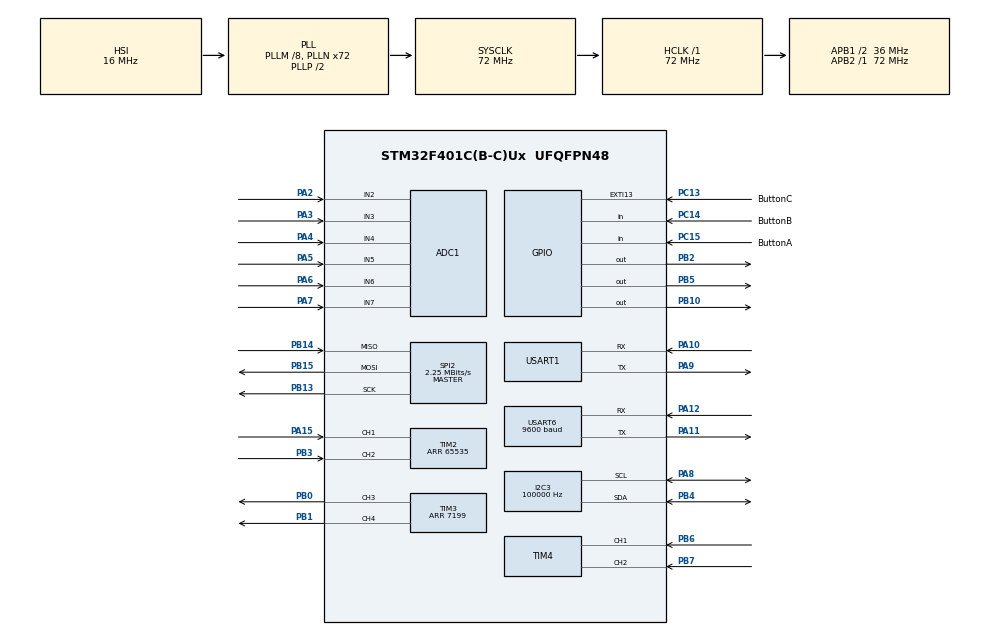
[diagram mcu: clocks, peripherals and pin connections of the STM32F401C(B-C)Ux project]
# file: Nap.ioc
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ADC1.Channel-0\#ChannelRegularConversion=ADC_CHANNEL_2
ADC1.Channel-1\#ChannelRegularConversion=ADC_CHANNEL_3
ADC1.Channel-2\#ChannelRegularConversion=ADC_CHANNEL_4
ADC1.Channel-3\#ChannelRegularConversion=ADC_CHANNEL_5
ADC1.Channel-4\#ChannelRegularConversion=ADC_CHANNEL_6
ADC1.Channel-5\#ChannelRegularConversion=ADC_CHANNEL_7
ADC1.ContinuousConvMode=ENABLE
ADC1.DMAContinuousRequests=ENABLE
ADC1.NbrOfConversion=6
ADC1.NbrOfConversionFlag=1
ADC1.Rank-0\#ChannelRegularConversion=1
ADC1.Rank-1\#ChannelRegularConversion=2
ADC1.Rank-2\#ChannelRegularConversion=3
ADC1.Rank-3\#ChannelRegularConversion=4
ADC1.Rank-4\#ChannelRegularConversion=5
ADC1.Rank-5\#ChannelRegularConversion=6
ADC1.SamplingTime-0\#ChannelRegularConversion=ADC_SAMPLETIME_56CYCLES
ADC1.SamplingTime-1\#ChannelRegularConversion=ADC_SAMPLETIME_56CYCLES
ADC1.SamplingTime-2\#ChannelRegularConversion=ADC_SAMPLETIME_56CYCLES
ADC1.SamplingTime-3\#ChannelRegularConversion=ADC_SAMPLETIME_56CYCLES
ADC1.SamplingTime-4\#ChannelRegularConversion=ADC_SAMPLETIME_56CYCLES
ADC1.SamplingTime-5\#ChannelRegularConversion=ADC_SAMPLETIME_56CYCLES
ADC1.master=1
Dma.ADC1.0.Direction=DMA_PERIPH_TO_MEMORY
Dma.ADC1.0.FIFOMode=DMA_FIFOMODE_DISABLE
Dma.ADC1.0.Instance=DMA2_Stream0
Dma.ADC1.0.MemDataAlignment=DMA_MDATAALIGN_HALFWORD
Dma.ADC1.0.MemInc=DMA_MINC_ENABLE
Dma.ADC1.0.Mode=DMA_CIRCULAR
Dma.ADC1.0.PeriphDataAlignment=DMA_PDATAALIGN_HALFWORD
Dma.ADC1.0.PeriphInc=DMA_PINC_DISABLE
Dma.ADC1.0.Priority=DMA_PRIORITY_LOW
Dma.Request0=ADC1
I2C3.ClockSpeed=100000
Mcu.Family=STM32F4
Mcu.Name=STM32F401C(B-C)Ux
Mcu.Package=UFQFPN48
NVIC.ADC_IRQn=true\:0\:0\:false\:false\:true\:true\:true
NVIC.DMA2_Stream0_IRQn=true\:0\:0\:false\:false\:true\:false\:true
NVIC.EXTI15_10_IRQn=true\:0\:0\:false\:false\:true\:true\:true
NVIC.PriorityGroup=NVIC_PRIORITYGROUP_4
NVIC.TIM2_IRQn=true\:0\:0\:false\:false\:true\:true\:true
NVIC.TIM4_IRQn=true\:0\:0\:false\:false\:true\:true\:true
NVIC.TIM5_IRQn=true\:0\:0\:false\:false\:true\:true\:true
NVIC.USART6_IRQn=true\:0\:0\:false\:false\:true\:true\:true
PA10.Mode=Asynchronous
PA10.Signal=USART1_RX
PA11.Mode=Asynchronous
PA11.Signal=USART6_TX
PA12.GPIO_ModeDefaultPP=GPIO_MODE_AF_PP
PA12.GPIO_PuPd=GPIO_NOPULL
PA12.GPIO_Speed=GPIO_SPEED_FREQ_VERY_HIGH
PA12.Mode=Asynchronous
PA12.Signal=USART6_RX
PA13.Mode=Serial_Wire
PA13.Signal=SYS_JTMS-SWDIO
PA14.Mode=Serial_Wire
PA14.Signal=SYS_JTCK-SWCLK
PA15.Signal=S_TIM2_CH1_ETR
PA2.Signal=ADCx_IN2
PA3.Signal=ADCx_IN3
PA4.Signal=ADCx_IN4
PA5.Signal=ADCx_IN5
PA6.Signal=ADCx_IN6
PA7.Signal=ADCx_IN7
PA8.GPIO_Pu=GPIO_PULLUP
PA8.Mode=I2C
PA8.Signal=I2C3_SCL
PA9.Mode=Asynchronous
PA9.Signal=USART1_TX
PB0.Signal=S_TIM3_CH3
PB1.Signal=S_TIM3_CH4
PB10.Signal=GPIO_Output
PB13.Mode=Full_Duplex_Master
PB13.Signal=SPI2_SCK
PB14.Mode=Full_Duplex_Master
PB14.Signal=SPI2_MISO
PB15.Mode=Full_Duplex_Master
PB15.Signal=SPI2_MOSI
PB2.Signal=GPIO_Output
PB3.Signal=S_TIM2_CH2
PB4.GPIO_Pu=GPIO_PULLUP
PB4.Mode=I2C
PB4.Signal=I2C3_SDA
PB5.Signal=GPIO_Output
PB6.Signal=S_TIM4_CH1
PB7.Signal=S_TIM4_CH2
PC13-ANTI_TAMP.GPIO_Label=ButtonC
PC13-ANTI_TAMP.GPIO_ModeDefaultEXTI=GPIO_MODE_IT_FALLING
PC13-ANTI_TAMP.Signal=GPXTI13
PC14-OSC32_IN.GPIO_Label=ButtonB
PC14-OSC32_IN.GPIO_Mode=GPIO_MODE_INPUT
PC14-OSC32_IN.Signal=GPIO_Input
PC15-OSC32_OUT.GPIO_Label=ButtonA
PC15-OSC32_OUT.GPIO_Mode=GPIO_MODE_INPUT
PC15-OSC32_OUT.GPIO_PuPd=GPIO_NOPULL
PC15-OSC32_OUT.Signal=GPIO_Input
PH0\ -\ OSC_IN.Mode=HSE-External-Oscillator
PH0\ -\ OSC_IN.Signal=RCC_OSC_IN
PH1\ -\ OSC_OUT.Mode=HSE-External-Oscillator
PH1\ -\ OSC_OUT.Signal=RCC_OSC_OUT
ProjectManager.HeapSize=0x200
ProjectManager.StackSize=0x400
ProjectManager.TargetToolchain=STM32CubeIDE
RCC.48MHZClocksFreq_Value=36000000
RCC.AHBFreq_Value=72000000
RCC.APB1CLKDivider=RCC_HCLK_DIV2
RCC.APB1Freq_Value=36000000
RCC.APB1TimFreq_Value=72000000
RCC.APB2Freq_Value=72000000
RCC.APB2TimFreq_Value=72000000
RCC.CortexFreq_Value=72000000
RCC.HCLKFreq_Value=72000000
RCC.HSE_VALUE=8000000
RCC.HSI_VALUE=16000000
RCC.LSE_VALUE=32768
RCC.PLLM=8
RCC.PLLN=72
RCC.SYSCLKFreq_VALUE=72000000
RCC.SYSCLKSource=RCC_SYSCLKSOURCE_PLLCLK
RCC.VCOOutputFreq_Value=144000000
SH.ADCx_IN2.0=ADC1_IN2,IN2
SH.ADCx_IN3.0=ADC1_IN3,IN3
SH.ADCx_IN4.0=ADC1_IN4,IN4
SH.ADCx_IN5.0=ADC1_IN5,IN5
SH.ADCx_IN6.0=ADC1_IN6,IN6
SH.ADCx_IN7.0=ADC1_IN7,IN7
SH.S_TIM2_CH1_ETR.0=TIM2_CH1,Encoder_Interface
SH.S_TIM2_CH2.0=TIM2_CH2,Encoder_Interface
SH.S_TIM3_CH3.0=TIM3_CH3,PWM Generation3 CH3
SH.S_TIM3_CH4.0=TIM3_CH4,PWM Generation4 CH4
SH.S_TIM4_CH1.0=TIM4_CH1,Encoder_Interface
SH.S_TIM4_CH2.0=TIM4_CH2,Encoder_Interface
SPI2.BaudRatePrescaler=SPI_BAUDRATEPRESCALER_16
SPI2.CRCCalculation=SPI_CRCCALCULATION_DISABLE
SPI2.CalculateBaudRate=2.25 MBits/s
SPI2.Direction=SPI_DIRECTION_2LINES
SPI2.Mode=SPI_MODE_MASTER
SPI2.VirtualType=VM_MASTER
TIM2.EncoderMode=TIM_ENCODERMODE_TI12
TIM2.IC1Polarity=TIM_ICPOLARITY_FALLING
TIM2.IC2Polarity=TIM_ICPOLARITY_FALLING
TIM2.Period=65535
TIM3.Channel-PWM\ Generation3\ CH3=TIM_CHANNEL_3
TIM3.Channel-PWM\ Generation4\ CH4=TIM_CHANNEL_4
TIM3.Period=7199
TIM4.EncoderMode=TIM_ENCODERMODE_TI12
TIM4.IC1Polarity=TIM_ICPOLARITY_FALLING
TIM4.IC2Polarity=TIM_ICPOLARITY_FALLING
TIM5.Period=59999
TIM5.Prescaler=60
TIM9.Period=9999
TIM9.Prescaler=71
USART1.VirtualMode=VM_ASYNC
USART6.BaudRate=9600
USART6.VirtualMode=VM_ASYNC
USART6.WordLength=WORDLENGTH_8B
VP_TIM5_VS_ClockSourceINT.Mode=Internal
VP_TIM9_VS_ClockSourceINT.Mode=Internal
board=custom

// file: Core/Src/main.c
/* USER CODE BEGIN Header */
/**
 ******************************************************************************
 * @file           : main.c
 * @brief          : Main program body
 ******************************************************************************
 * @attention
 *
 * <h2><center>&copy; Copyright (c) 2021 STMicroelectronics.
 * All rights reserved.</center></h2>
 *
 * This software component is licensed by ST under BSD 3-Clause license,
 * the "License"; You may not use this file except in compliance with the
 * License. You may obtain a copy of the License at:
 *                        opensource.org/licenses/BSD-3-Clause
 *
 ******************************************************************************
 */
/* USER CODE END Header */
#include "main.h"

/* USER CODE BEGIN PD */
#define Number_of_Menu_firstline 		1
#define Maximum_Menu_line 				8
#define Maximum_PID_line 				4
#define Maximum_Engine_line 			3
#define Maximum_Path_Solver_line		4
/* Menu Types definition -----------------------------------------------------*/
#define Running_menu 					0
#define Main_menu 						1
#define Color_Processing 				2
#define PID_Menu 						3
#define Engine_menu 					4
#define LineDetect_Show 				5
#define Wifi_Connect 					6
#define Saving_process 					7
#define Path_solver						8
#define Path_show_menu					9

/* Increase or Decrease amount for PID ---------------------------------------*/
#define Kp_amount 					 0.01f
#define Ki_amount 					 0.01f
#define Kd_amount 					 0.01f

/* Receive Buffer Size -------------------------------------------------------*/
#define RECEIVE_BUFF_SIZE				22U
#define ID_PID_MESS						1U
#define ID_STATUS_MESS					2U
#define ID_FIRST_LAST_MESS				3U
#define DATA_ERROR_REQ					4U
#define DATA_LEFT_REQ					5U
#define DATA_RIGHT_REQ					6U
#define DATA_PID_REQ					7U
#define DATA_BOOT_REQ					8U
#define DATA_PATH_REQ					9U
#define DATA_POINT_REQ					10U
#define DATA_RFID_REQ					11U

/* Car State -----------------------------------------------------------------*/
#define CAR_IS_RUNNING					1U
#define CAR_IS_PAUSE					0U

/* Transfer data flag --------------------------------------------------------*/
#define DATA_TRANS_DIS 					0U
#define DATA_TRANS_EN 					1U

/* Transfer PID DATA ---------------------------------------------------------*/
#define Send_Buffer_Size 				22
#define Kp_Buffer_Size 					7
#define Ki_Buffer_Size 					7
#define Kd_Buffer_Size 					7
/* Sensor position -----------------------------------------------------------*/

	/*		0			1			2			3			4			5		*/

/* Max Speed Constrains ------------------------------------------------------*/
#define MAXSPEED_RIGHT					3300
#define MAXSPEED_LEFT					3490

/* Default PID ---------------------------------------------------------------*/
#define DEFAULT_KP						36.42f
#define DEFAULT_KI						0.0f
#define DEFAULT_KD						2.3f

/* Line Color ----------------------------------------------------------------*/
#define LINE_HALF_BLACK					1U
#define LINE_FULL_BLACK					2U
#define LINE_MIDDLE						3U

/* Instruction define --------------------------------------------------------*/
#define TURN_SKIP_POINT					7U
#define TURN_SKIP 						0U
#define TURN_180DEG_STRAIGHT			1U
#define TURN_180DEG_RIGHT				2U
#define TURN_RIGHT						3U
#define TURN_LEFT						4U
#define TURN_180DEG_LEFT				5U
/* USER CODE END PD */

/* USER CODE BEGIN PM */
#define sbi(Reg, Bit) (Reg |= (1<<Bit))					//set bit macro
#define cbi(Reg, Bit) (Reg &= ~(1<<Bit))				//clear bit macro
/* USER CODE END PM */

ADC_HandleTypeDef hadc1;
DMA_HandleTypeDef hdma_adc1;

I2C_HandleTypeDef hi2c3;

SPI_HandleTypeDef hspi2;

TIM_HandleTypeDef htim2;
TIM_HandleTypeDef htim3;
TIM_HandleTypeDef htim4;
TIM_HandleTypeDef htim5;
TIM_HandleTypeDef htim9;

UART_HandleTypeDef huart1;
UART_HandleTypeDef huart6;

/* USER CODE BEGIN PV */

uint8_t LineDetect = 0;
volatile uint8_t stateBTNC = 1;
uint8_t cancel_menu = 1;
uint8_t cancel_running = 1;
uint8_t Kp_modify_flag = 0, Ki_modify_flag = 0, Kd_modify_flag = 0;
uint8_t Left_modify_flag = 0, Right_modify_flag = 0;
uint8_t First_point_modify_flag = 0, Last_point_modify_flag = 0;
uint8_t Status = CAR_IS_RUNNING;
uint8_t Trans_flag = DATA_TRANS_DIS;
uint8_t LCD_INIT_FLAG = 1;
uint8_t Previous_Line = LINE_MIDDLE;
uint8_t Flag_u8 = 0;
int8_t First_point = 0,Last_point = 0,Previous_point = 7;
int8_t Begin_solving = 0;
uint8_t count;
uint8_t STATION_ID = 0;
uint8_t cancel_reading_card = 1;
uint8_t RFID_ID_ready = 0;
int16_t Left = 3390, Right = 3200;
int16_t positionLeft = 0, positionRight = 0;
uint16_t Sensor_Threshold[] = { 3900, 3900, 3900, 4000, 4000, 4000 };
uint16_t Sensor_ADC_Value[6];
uint32_t counterLeft = 0,counterRight = 0;

volatile short countLeft = 0, countRight = 0;
volatile short countLeft_prv = 0, countRight_prv = 0;
volatile short rateLeft = 0, rateRight = 0;
volatile short rateLeft_prv = 0, rateRight_prv = 0;

const long interval = 70;
uint8_t ID;
int Motor_Speed_L,Motor_Speed_R;
int Speed_Left = 0, Speed_Right = 0;
int Check_line = 0;
int Error_Val;
int old_countLeft,old_countRight;
float Kp = DEFAULT_KP, Ki = DEFAULT_KI, Kd = DEFAULT_KD;
char string_2[1];
char PID_Rx[12];
char kp_val[10], ki_val[10], kd_val[10];
char Rx_Buffer[RECEIVE_BUFF_SIZE],Rx_Buffer_copied[RECEIVE_BUFF_SIZE];
char RFID_Str[20] = "2398801a21";
unsigned long previousMillis = 0;
unsigned long time;
unsigned char CardID[5];
PIDController Car = {0,0,0,0,-400,400};
/* USER CODE END PV */

void SystemClock_Config(void);
static void MX_GPIO_Init(void);
static void MX_DMA_Init(void);
static void MX_USART6_UART_Init(void);
static void MX_TIM2_Init(void);
static void MX_TIM3_Init(void);
static void MX_ADC1_Init(void);
static void MX_TIM4_Init(void);
static void MX_I2C3_Init(void);
static void MX_TIM5_Init(void);
static void MX_SPI2_Init(void);
static void MX_USART1_UART_Init(void);
static void MX_TIM9_Init(void);
/* USER CODE BEGIN PFP */
static void SelectItem(void);
static void Sensor_Convert_A2D(void);
static void Sensor_Print_LineDetect();
static void MultifunctionButton(void);
static void ScrollUp(void);
static int Error_Return (uint8_t Sensor_Array);
static int Constraint (int Present_Value,int Min,int Max);
static void Go_Straight();
static void Left_Turn();
static void Right_Turn();
static void Turn_180_Deg();

// RC522
uint8_t MFRC522_Check(uint8_t* id);
uint8_t MFRC522_Compare(uint8_t* CardID, uint8_t* CompareID);
void MFRC522_WriteRegister(uint8_t addr, uint8_t val);
uint8_t MFRC522_ReadRegister(uint8_t addr);
void MFRC522_SetBitMask(uint8_t reg, uint8_t mask);
void MFRC522_ClearBitMask(uint8_t reg, uint8_t mask);
uint8_t MFRC522_Request(uint8_t reqMode, uint8_t* TagType);
uint8_t MFRC522_ToCard(uint8_t command, uint8_t* sendData, uint8_t sendLen, uint8_t* backData, uint16_t* backLen);
uint8_t MFRC522_Anticoll(uint8_t* serNum);
void MFRC522_CalulateCRC(uint8_t* pIndata, uint8_t len, uint8_t* pOutData);
uint8_t MFRC522_SelectTag(uint8_t* serNum);
uint8_t MFRC522_Auth(uint8_t authMode, uint8_t BlockAddr, uint8_t* Sectorkey, uint8_t* serNum);
uint8_t MFRC522_Read(uint8_t blockAddr, uint8_t* recvData);
uint8_t MFRC522_Write(uint8_t blockAddr, uint8_t* writeData);
void MFRC522_Init(void);
void MFRC522_Reset(void);
void MFRC522_AntennaOn(void);
void MFRC522_AntennaOff(void);
void MFRC522_Halt(void);
/* USER CODE END PFP */

/* USER CODE BEGIN 0 */
PUTCHAR_PROTOTYPE {
	/* Place your implementation of fputc here */
	/* e.g. write a character to the USART2 and Loop until the end of transmission */
	HAL_UART_Transmit(&huart1, (uint8_t*) &ch, 1, 0xFFFF);
	return ch;
}

void HAL_UART_RxCpltCallback(UART_HandleTypeDef *huart)
{
	strcpy(Rx_Buffer_copied,Rx_Buffer);
	char *ID_number  = strtok(Rx_Buffer_copied," ");
	ID = strtod(ID_number,NULL);
	if(ID == ID_PID_MESS)
	{
		char *Data1 = strtok(NULL," ");
		char *Data2 = strtok(NULL," ");
		char *Data3 = strtok(NULL,"");
		Kp = strtof(Data1,NULL);
		Ki = strtof(Data2,NULL);
		Kd = strtof(Data3,NULL);
	}
	else if(ID == ID_STATUS_MESS)
	{
		char *Data1 = strtok(NULL," ");
		Status = (uint8_t)atoi(Data1);
	}
	else if(ID == ID_FIRST_LAST_MESS)
	{
		char *Data1 = strtok(NULL," ");
		char *Data2 = strtok(NULL," ");
		First_point = atoi(Data1);
		Last_point = atoi(Data2);
		Begin_solving = 1;
	}
	else if(ID == DATA_ERROR_REQ && Trans_flag == DATA_TRANS_EN)
	{
		char Error_Str[4];
		sprintf(Error_Str,"%d",Error_Val);
		HAL_UART_Transmit(&huart6, Error_Str, sizeof(Error_Str), 5000);
	}
	else if(ID == DATA_LEFT_REQ && Trans_flag == DATA_TRANS_EN)
	{
		char Speed_Left_Str[5];
		sprintf(Speed_Left_Str,"%d",rateLeft);
		HAL_UART_Transmit(&huart6, Speed_Left_Str, sizeof(Speed_Left_Str),5000);
	}
	else if(ID == DATA_RIGHT_REQ && Trans_flag == DATA_TRANS_EN)
	{
		char Speed_Right_Str[5];
		sprintf(Speed_Right_Str,"%d",rateRight);
		HAL_UART_Transmit(&huart6, Speed_Right_Str, sizeof(Speed_Right_Str), 5000);
	}
	else if(ID == DATA_PID_REQ)
	{
	  char Kp_string[Kp_Buffer_Size+1],Ki_string[Ki_Buffer_Size+1],Kd_string[Kd_Buffer_Size+1],Final_string[Send_Buffer_Size];
	  memset(Final_string,0,sizeof(Final_string));
	  sprintf(Kp_string,"%06.2f ",Kp);
	  sprintf(Ki_string,"%06.2f ",Ki);
	  sprintf(Kd_string,"%06.2f\"",Kd);
	  strcat(Final_string,Kp_string);
	  strcat(Final_string,Ki_string);
	  strcat(Final_string,Kd_string);
	  HAL_UART_Transmit(&huart6, Final_string, sizeof(Final_string), 10000);
	}
	else if(ID == DATA_BOOT_REQ)
	{
		char Boot[1] = "1";
		HAL_UART_Transmit(&huart6, Boot, sizeof(Boot), 1000);
	}
	else if(ID == DATA_PATH_REQ)
	{
		char PATH_DIR[15];
		memset(PATH_DIR,0,sizeof(PATH_DIR));
		GetString_Transfer(First_point, Last_point, PATH_DIR);
		HAL_UART_Transmit(&huart6, PATH_DIR, sizeof(PATH_DIR), 5000);
	}
	else if(ID == DATA_POINT_REQ)
	{
		char STATION_ID_str[4];
		sprintf(STATION_ID_str,"%d",STATION_ID);
		HAL_UART_Transmit(&huart6, STATION_ID_str, sizeof(STATION_ID_str), 2000);
	}
	else if(ID == DATA_RFID_REQ)
	{
		if(RFID_Str == "d1b0af21ef")
		{
			strcpy(RFID_Str,"83ee851af2");
		}
		HAL_UART_Transmit(&huart6, RFID_Str,sizeof(RFID_Str),2000);
	}
	memset(Rx_Buffer_copied,0,sizeof(Rx_Buffer_copied));
	memset(Rx_Buffer,0,sizeof(Rx_Buffer));
	HAL_UART_Receive_IT(&huart6, Rx_Buffer, RECEIVE_BUFF_SIZE);

}

void Encoder_Read()
{
	countLeft = __HAL_TIM_GET_COUNTER(&htim2);
	countRight = __HAL_TIM_GET_COUNTER(&htim4);
}
/* USER CODE END 0 */

int main(void)
{

  /* MCU Configuration--------------------------------------------------------*/

  /* Reset of all peripherals, Initializes the Flash interface and the Systick. */
  HAL_Init();

  /* Configure the system clock */
  SystemClock_Config();

  /* Initialize all configured peripherals */
  MX_GPIO_Init();
  MX_DMA_Init();
  MX_USART6_UART_Init();
  MX_TIM2_Init();
  MX_TIM3_Init();
  MX_ADC1_Init();
  MX_TIM4_Init();
  MX_I2C3_Init();
  MX_TIM5_Init();
  MX_SPI2_Init();
  MX_USART1_UART_Init();
  MX_TIM9_Init();
  /* USER CODE BEGIN 2 */
  lcd_init();
  MotorL_EnablePWM();
  MotorR_EnablePWM();
  HAL_ADC_Start_DMA(&hadc1, (uint32_t*) &Sensor_ADC_Value, 6);
  HAL_UART_Receive_IT(&huart6, Rx_Buffer, RECEIVE_BUFF_SIZE);
  /*Enable for encoder reading*/
  HAL_TIM_Encoder_Start_IT(&htim4, TIM_CHANNEL_ALL);
  HAL_TIM_Encoder_Start_IT(&htim2, TIM_CHANNEL_ALL);
  PIDController_Car_Init(&Car);
  MFRC522_Init();
  /* USER CODE END 2 */

  /* Infinite loop */
  /* USER CODE BEGIN WHILE */
	while (1) {
		if(LCD_INIT_FLAG == 1)
		{
			for(int i = 0; i < 3; i++)
			{
				lcd_init();
				HAL_Delay(500);
				lcd_send_cmd(0);
			}
			LCD_INIT_FLAG = 0;
		}
		lcd_send_cmd(1);
		while (menu_display)
		{
			Car.Kp = Kp;
			Car.Kd = Kd;
			Menu_system_control(Menu_type, line);
			ScrollUp();
			SelectItem();
		}
//		MotorL_SetPWM(3000);
//		MotorR_SetPWM(3000);
//		printf("%d,%d\n",Speed_Left,Speed_Right);
//		HAL_Delay(100);
	}
    /* USER CODE END WHILE */

}

void SystemClock_Config(void)
{
  RCC_OscInitTypeDef RCC_OscInitStruct = {0};
  RCC_ClkInitTypeDef RCC_ClkInitStruct = {0};

  /** Configure the main internal regulator output voltage
  */
  __HAL_RCC_PWR_CLK_ENABLE();
  __HAL_PWR_VOLTAGESCALING_CONFIG(PWR_REGULATOR_VOLTAGE_SCALE2);
  /** Initializes the RCC Oscillators according to the specified parameters
  * in the RCC_OscInitTypeDef structure.
  */
  RCC_OscInitStruct.OscillatorType = RCC_OSCILLATORTYPE_HSI;
  RCC_OscInitStruct.HSIState = RCC_HSI_ON;
  RCC_OscInitStruct.HSICalibrationValue = RCC_HSICALIBRATION_DEFAULT;
  RCC_OscInitStruct.PLL.PLLState = RCC_PLL_ON;
  RCC_OscInitStruct.PLL.PLLSource = RCC_PLLSOURCE_HSI;
  RCC_OscInitStruct.PLL.PLLM = 8;
  RCC_OscInitStruct.PLL.PLLN = 72;
  RCC_OscInitStruct.PLL.PLLP = RCC_PLLP_DIV2;
  RCC_OscInitStruct.PLL.PLLQ = 4;
  if (HAL_RCC_OscConfig(&RCC_OscInitStruct) != HAL_OK)
  {
    Error_Handler();
  }
  /** Initializes the CPU, AHB and APB buses clocks
  */
  RCC_ClkInitStruct.ClockType = RCC_CLOCKTYPE_HCLK|RCC_CLOCKTYPE_SYSCLK
                              |RCC_CLOCKTYPE_PCLK1|RCC_CLOCKTYPE_PCLK2;
  RCC_ClkInitStruct.SYSCLKSource = RCC_SYSCLKSOURCE_PLLCLK;
  RCC_ClkInitStruct.AHBCLKDivider = RCC_SYSCLK_DIV1;
  RCC_ClkInitStruct.APB1CLKDivider = RCC_HCLK_DIV2;
  RCC_ClkInitStruct.APB2CLKDivider = RCC_HCLK_DIV1;

  if (HAL_RCC_ClockConfig(&RCC_ClkInitStruct, FLASH_LATENCY_2) != HAL_OK)
  {
    Error_Handler();
  }
}

static void MX_ADC1_Init(void)
{

  ADC_ChannelConfTypeDef sConfig = {0};

  /** Configure the global features of the ADC (Clock, Resolution, Data Alignment and number of conversion)
  */
  hadc1.Instance = ADC1;
  hadc1.Init.ClockPrescaler = ADC_CLOCK_SYNC_PCLK_DIV2;
  hadc1.Init.Resolution = ADC_RESOLUTION_12B;
  hadc1.Init.ScanConvMode = ENABLE;
  hadc1.Init.ContinuousConvMode = ENABLE;
  hadc1.Init.DiscontinuousConvMode = DISABLE;
  hadc1.Init.ExternalTrigConvEdge = ADC_EXTERNALTRIGCONVEDGE_NONE;
  hadc1.Init.ExternalTrigConv = ADC_SOFTWARE_START;
  hadc1.Init.DataAlign = ADC_DATAALIGN_RIGHT;
  hadc1.Init.NbrOfConversion = 6;
  hadc1.Init.DMAContinuousRequests = ENABLE;
  hadc1.Init.EOCSelection = ADC_EOC_SINGLE_CONV;
  if (HAL_ADC_Init(&hadc1) != HAL_OK)
  {
    Error_Handler();
  }
  /** Configure for the selected ADC regular channel its corresponding rank in the sequencer and its sample time.
  */
  sConfig.Channel = ADC_CHANNEL_2;
  sConfig.Rank = 1;
  sConfig.SamplingTime = ADC_SAMPLETIME_56CYCLES;
  if (HAL_ADC_ConfigChannel(&hadc1, &sConfig) != HAL_OK)
  {
    Error_Handler();
  }
  /** Configure for the selected ADC regular channel its corresponding rank in the sequencer and its sample time.
  */
  sConfig.Channel = ADC_CHANNEL_3;
  sConfig.Rank = 2;
  if (HAL_ADC_ConfigChannel(&hadc1, &sConfig) != HAL_OK)
  {
    Error_Handler();
  }
  /** Configure for the selected ADC regular channel its corresponding rank in the sequencer and its sample time.
  */
  sConfig.Channel = ADC_CHANNEL_4;
  sConfig.Rank = 3;
  if (HAL_ADC_ConfigChannel(&hadc1, &sConfig) != HAL_OK)
  {
    Error_Handler();
  }
  /** Configure for the selected ADC regular channel its corresponding rank in the sequencer and its sample time.
  */
  sConfig.Channel = ADC_CHANNEL_5;
  sConfig.Rank = 4;
  if (HAL_ADC_ConfigChannel(&hadc1, &sConfig) != HAL_OK)
  {
    Error_Handler();
  }
  /** Configure for the selected ADC regular channel its corresponding rank in the sequencer and its sample time.
  */
  sConfig.Channel = ADC_CHANNEL_6;
  sConfig.Rank = 5;
  if (HAL_ADC_ConfigChannel(&hadc1, &sConfig) != HAL_OK)
  {
    Error_Handler();
  }
  /** Configure for the selected ADC regular channel its corresponding rank in the sequencer and its sample time.
  */
  sConfig.Channel = ADC_CHANNEL_7;
  sConfig.Rank = 6;
  if (HAL_ADC_ConfigChannel(&hadc1, &sConfig) != HAL_OK)
  {
    Error_Handler();
  }

}

static void MX_I2C3_Init(void)
{

  hi2c3.Instance = I2C3;
  hi2c3.Init.ClockSpeed = 100000;
  hi2c3.Init.DutyCycle = I2C_DUTYCYCLE_2;
  hi2c3.Init.OwnAddress1 = 0;
  hi2c3.Init.AddressingMode = I2C_ADDRESSINGMODE_7BIT;
  hi2c3.Init.DualAddressMode = I2C_DUALADDRESS_DISABLE;
  hi2c3.Init.OwnAddress2 = 0;
  hi2c3.Init.GeneralCallMode = I2C_GENERALCALL_DISABLE;
  hi2c3.Init.NoStretchMode = I2C_NOSTRETCH_DISABLE;
  if (HAL_I2C_Init(&hi2c3) != HAL_OK)
  {
    Error_Handler();
  }

}

static void MX_SPI2_Init(void)
{

  /* SPI2 parameter configuration*/
  hspi2.Instance = SPI2;
  hspi2.Init.Mode = SPI_MODE_MASTER;
  hspi2.Init.Direction = SPI_DIRECTION_2LINES;
  hspi2.Init.DataSize = SPI_DATASIZE_8BIT;
  hspi2.Init.CLKPolarity = SPI_POLARITY_LOW;
  hspi2.Init.CLKPhase = SPI_PHASE_1EDGE;
  hspi2.Init.NSS = SPI_NSS_SOFT;
  hspi2.Init.BaudRatePrescaler = SPI_BAUDRATEPRESCALER_16;
  hspi2.Init.FirstBit = SPI_FIRSTBIT_MSB;
  hspi2.Init.TIMode = SPI_TIMODE_DISABLE;
  hspi2.Init.CRCCalculation = SPI_CRCCALCULATION_DISABLE;
  hspi2.Init.CRCPolynomial = 10;
  if (HAL_SPI_Init(&hspi2) != HAL_OK)
  {
    Error_Handler();
  }

}

static void MX_TIM2_Init(void)
{

  TIM_Encoder_InitTypeDef sConfig = {0};
  TIM_MasterConfigTypeDef sMasterConfig = {0};

  htim2.Instance = TIM2;
  htim2.Init.Prescaler = 0;
  htim2.Init.CounterMode = TIM_COUNTERMODE_UP;
  htim2.Init.Period = 65535;
  htim2.Init.ClockDivision = TIM_CLOCKDIVISION_DIV1;
  htim2.Init.AutoReloadPreload = TIM_AUTORELOAD_PRELOAD_DISABLE;
  sConfig.EncoderMode = TIM_ENCODERMODE_TI12;
  sConfig.IC1Polarity = TIM_ICPOLARITY_FALLING;
  sConfig.IC1Selection = TIM_ICSELECTION_DIRECTTI;
  sConfig.IC1Prescaler = TIM_ICPSC_DIV1;
  sConfig.IC1Filter = 0;
  sConfig.IC2Polarity = TIM_ICPOLARITY_FALLING;
  sConfig.IC2Selection = TIM_ICSELECTION_DIRECTTI;
  sConfig.IC2Prescaler = TIM_ICPSC_DIV1;
  sConfig.IC2Filter = 0;
  if (HAL_TIM_Encoder_Init(&htim2, &sConfig) != HAL_OK)
  {
    Error_Handler();
  }
  sMasterConfig.MasterOutputTrigger = TIM_TRGO_RESET;
  sMasterConfig.MasterSlaveMode = TIM_MASTERSLAVEMODE_DISABLE;
  if (HAL_TIMEx_MasterConfigSynchronization(&htim2, &sMasterConfig) != HAL_OK)
  {
    Error_Handler();
  }

}

static void MX_TIM3_Init(void)
{

  TIM_MasterConfigTypeDef sMasterConfig = {0};
  TIM_OC_InitTypeDef sConfigOC = {0};

  htim3.Instance = TIM3;
  htim3.Init.Prescaler = 0;
  htim3.Init.CounterMode = TIM_COUNTERMODE_UP;
  htim3.Init.Period = 7199;
  htim3.Init.ClockDivision = TIM_CLOCKDIVISION_DIV1;
  htim3.Init.AutoReloadPreload = TIM_AUTORELOAD_PRELOAD_DISABLE;
  if (HAL_TIM_PWM_Init(&htim3) != HAL_OK)
  {
    Error_Handler();
  }
  sMasterConfig.MasterOutputTrigger = TIM_TRGO_RESET;
  sMasterConfig.MasterSlaveMode = TIM_MASTERSLAVEMODE_DISABLE;
  if (HAL_TIMEx_MasterConfigSynchronization(&htim3, &sMasterConfig) != HAL_OK)
  {
    Error_Handler();
  }
  sConfigOC.OCMode = TIM_OCMODE_PWM1;
  sConfigOC.Pulse = 0;
  sConfigOC.OCPolarity = TIM_OCPOLARITY_HIGH;
  sConfigOC.OCFastMode = TIM_OCFAST_DISABLE;
  if (HAL_TIM_PWM_ConfigChannel(&htim3, &sConfigOC, TIM_CHANNEL_3) != HAL_OK)
  {
    Error_Handler();
  }
  if (HAL_TIM_PWM_ConfigChannel(&htim3, &sConfigOC, TIM_CHANNEL_4) != HAL_OK)
  {
    Error_Handler();
  }
  HAL_TIM_MspPostInit(&htim3);

}

static void MX_TIM4_Init(void)
{

  TIM_Encoder_InitTypeDef sConfig = {0};
  TIM_MasterConfigTypeDef sMasterConfig = {0};

  htim4.Instance = TIM4;
  htim4.Init.Prescaler = 0;
  htim4.Init.CounterMode = TIM_COUNTERMODE_UP;
  htim4.Init.Period = 65535;
  htim4.Init.ClockDivision = TIM_CLOCKDIVISION_DIV1;
  htim4.Init.AutoReloadPreload = TIM_AUTORELOAD_PRELOAD_DISABLE;
  sConfig.EncoderMode = TIM_ENCODERMODE_TI12;
  sConfig.IC1Polarity = TIM_ICPOLARITY_FALLING;
  sConfig.IC1Selection = TIM_ICSELECTION_DIRECTTI;
  sConfig.IC1Prescaler = TIM_ICPSC_DIV1;
  sConfig.IC1Filter = 0;
  sConfig.IC2Polarity = TIM_ICPOLARITY_FALLING;
  sConfig.IC2Selection = TIM_ICSELECTION_DIRECTTI;
  sConfig.IC2Prescaler = TIM_ICPSC_DIV1;
  sConfig.IC2Filter = 0;
  if (HAL_TIM_Encoder_Init(&htim4, &sConfig) != HAL_OK)
  {
    Error_Handler();
  }
  sMasterConfig.MasterOutputTrigger = TIM_TRGO_RESET;
  sMasterConfig.MasterSlaveMode = TIM_MASTERSLAVEMODE_DISABLE;
  if (HAL_TIMEx_MasterConfigSynchronization(&htim4, &sMasterConfig) != HAL_OK)
  {
    Error_Handler();
  }

}

static void MX_TIM5_Init(void)
{

  TIM_ClockConfigTypeDef sClockSourceConfig = {0};
  TIM_MasterConfigTypeDef sMasterConfig = {0};

  htim5.Instance = TIM5;
  htim5.Init.Prescaler = 60;
  htim5.Init.CounterMode = TIM_COUNTERMODE_UP;
  htim5.Init.Period = 59999;
  htim5.Init.ClockDivision = TIM_CLOCKDIVISION_DIV1;
  htim5.Init.AutoReloadPreload = TIM_AUTORELOAD_PRELOAD_DISABLE;
  if (HAL_TIM_Base_Init(&htim5) != HAL_OK)
  {
    Error_Handler();
  }
  sClockSourceConfig.ClockSource = TIM_CLOCKSOURCE_INTERNAL;
  if (HAL_TIM_ConfigClockSource(&htim5, &sClockSourceConfig) != HAL_OK)
  {
    Error_Handler();
  }
  sMasterConfig.MasterOutputTrigger = TIM_TRGO_RESET;
  sMasterConfig.MasterSlaveMode = TIM_MASTERSLAVEMODE_DISABLE;
  if (HAL_TIMEx_MasterConfigSynchronization(&htim5, &sMasterConfig) != HAL_OK)
  {
    Error_Handler();
  }

}

static void MX_TIM9_Init(void)
{

  TIM_ClockConfigTypeDef sClockSourceConfig = {0};

  htim9.Instance = TIM9;
  htim9.Init.Prescaler = 71;
  htim9.Init.CounterMode = TIM_COUNTERMODE_UP;
  htim9.Init.Period = 9999;
  htim9.Init.ClockDivision = TIM_CLOCKDIVISION_DIV1;
  htim9.Init.AutoReloadPreload = TIM_AUTORELOAD_PRELOAD_DISABLE;
  if (HAL_TIM_Base_Init(&htim9) != HAL_OK)
  {
    Error_Handler();
  }
  sClockSourceConfig.ClockSource = TIM_CLOCKSOURCE_INTERNAL;
  if (HAL_TIM_ConfigClockSource(&htim9, &sClockSourceConfig) != HAL_OK)
  {
    Error_Handler();
  }

}

static void MX_USART1_UART_Init(void)
{

  huart1.Instance = USART1;
  huart1.Init.BaudRate = 115200;
  huart1.Init.WordLength = UART_WORDLENGTH_8B;
  huart1.Init.StopBits = UART_STOPBITS_1;
  huart1.Init.Parity = UART_PARITY_NONE;
  huart1.Init.Mode = UART_MODE_TX_RX;
  huart1.Init.HwFlowCtl = UART_HWCONTROL_NONE;
  huart1.Init.OverSampling = UART_OVERSAMPLING_16;
  if (HAL_UART_Init(&huart1) != HAL_OK)
  {
    Error_Handler();
  }

}

static void MX_USART6_UART_Init(void)
{

  huart6.Instance = USART6;
  huart6.Init.BaudRate = 9600;
  huart6.Init.WordLength = UART_WORDLENGTH_8B;
  huart6.Init.StopBits = UART_STOPBITS_1;
  huart6.Init.Parity = UART_PARITY_NONE;
  huart6.Init.Mode = UART_MODE_TX_RX;
  huart6.Init.HwFlowCtl = UART_HWCONTROL_NONE;
  huart6.Init.OverSampling = UART_OVERSAMPLING_16;
  if (HAL_UART_Init(&huart6) != HAL_OK)
  {
    Error_Handler();
  }

}

static void MX_DMA_Init(void)
{

  /* DMA controller clock enable */
  __HAL_RCC_DMA2_CLK_ENABLE();

  /* DMA interrupt init */
  /* DMA2_Stream0_IRQn interrupt configuration */
  HAL_NVIC_SetPriority(DMA2_Stream0_IRQn, 0, 0);
  HAL_NVIC_EnableIRQ(DMA2_Stream0_IRQn);

}

static void MX_GPIO_Init(void)
{
  GPIO_InitTypeDef GPIO_InitStruct = {0};

  /* GPIO Ports Clock Enable */
  __HAL_RCC_GPIOC_CLK_ENABLE();
  __HAL_RCC_GPIOH_CLK_ENABLE();
  __HAL_RCC_GPIOA_CLK_ENABLE();
  __HAL_RCC_GPIOB_CLK_ENABLE();

  /*Configure GPIO pin Output Level */
  HAL_GPIO_WritePin(GPIOB, GPIO_PIN_2|GPIO_PIN_10|GPIO_PIN_5, GPIO_PIN_RESET);

  /*Configure GPIO pin : ButtonC_Pin */
  GPIO_InitStruct.Pin = ButtonC_Pin;
  GPIO_InitStruct.Mode = GPIO_MODE_IT_FALLING;
  GPIO_InitStruct.Pull = GPIO_NOPULL;
  HAL_GPIO_Init(ButtonC_GPIO_Port, &GPIO_InitStruct);

  /*Configure GPIO pins : ButtonB_Pin ButtonA_Pin */
  GPIO_InitStruct.Pin = ButtonB_Pin|ButtonA_Pin;
  GPIO_InitStruct.Mode = GPIO_MODE_INPUT;
  GPIO_InitStruct.Pull = GPIO_NOPULL;
  HAL_GPIO_Init(GPIOC, &GPIO_InitStruct);

  /*Configure GPIO pins : PB2 PB10 PB5 */
  GPIO_InitStruct.Pin = GPIO_PIN_2|GPIO_PIN_10|GPIO_PIN_5;
  GPIO_InitStruct.Mode = GPIO_MODE_OUTPUT_PP;
  GPIO_InitStruct.Pull = GPIO_NOPULL;
  GPIO_InitStruct.Speed = GPIO_SPEED_FREQ_LOW;
  HAL_GPIO_Init(GPIOB, &GPIO_InitStruct);

  /* EXTI interrupt init*/
  HAL_NVIC_SetPriority(EXTI15_10_IRQn, 0, 0);
  HAL_NVIC_EnableIRQ(EXTI15_10_IRQn);

}

/* USER CODE BEGIN 4 */
void Running(void) // Activate the car for running
{
	uint8_t Temp_Line;
	int8_t point_passed = -1;
	int Instruction[8];
	int Map_Point[4],Turn_Instruction[4];
	int8_t Max_point_temp,Max_point;
	int8_t Spin_once = 0;
	int8_t Path_guidance = 1;
	int8_t station_count = -1;
	uint8_t Read_RFID_Flag = 0;
	lcd_send_cmd(0x80 | 0x00);
	lcd_send_string("Car is Running!        ");
	lcd_send_cmd(0x80 | 0x40);
	lcd_send_string("Press C for cancel     ");
	Previous_Line = LINE_MIDDLE;
	while (cancel_running) {
		if(Begin_solving == 1)
		{
	/*======================== CACULATING SPEED EACH 300ms ============================================*/
			unsigned long currentMillis  = HAL_GetTick();
			Encoder_Read();
			if(currentMillis  - previousMillis  >= interval)
			{
				previousMillis  = previousMillis;
				rateLeft = (countLeft - countLeft_prv)*1345/374;
				rateRight = (countRight - countRight_prv)*1345/374;
				countLeft_prv = countLeft;
				countRight_prv = countRight;
			}
			if(Path_guidance == 1)
			{
				Max_point_temp = Solver(First_point, Last_point, Previous_point, Turn_Instruction, Map_Point, Instruction);
				Max_point = Max_point_temp + (Max_point_temp - 1) - 1;
				Path_guidance = 0;
			}
			Sensor_Convert_A2D();
			Go_Straight();
			Temp_Line = (LineDetect & 0b10000100);
			if(Temp_Line == 0b10000000 || Temp_Line == 0b00000100 || Temp_Line == 0b10000100)
			{
				if(Temp_Line == 0b10000000)
				{
					Error_Val = 3100;
				}
				else if(Temp_Line == 0b00000100)
				{
					Error_Val = 4300;
				}
				Sensor_Convert_A2D();
				Previous_Line = LINE_HALF_BLACK;
				if(point_passed == Max_point - 1)
				{
					station_count = station_count + 1;
					STATION_ID = Map_Point[station_count];
					First_point = Last_point;
					Previous_point = Map_Point[Max_point_temp - 2];
					Begin_solving = 0;
					Read_RFID_Flag = 1;
				}
				if(Spin_once == 0 && (Turn_Instruction[0] == TURN_180DEG_LEFT || Turn_Instruction[0] == TURN_180DEG_RIGHT || Turn_Instruction[0] == TURN_180DEG_STRAIGHT))
				{
					Turn_180_Deg();
					Previous_Line = LINE_HALF_BLACK;
					Spin_once = 1;
				}
			}

		/* Truong hop xe chay line giua ---------------------------------------*/
			else if (Temp_Line == 0b00000000)
			{
				if (Previous_Line == LINE_HALF_BLACK)
				{
					Sensor_Convert_A2D();
					Go_Straight();
					point_passed = point_passed + 1;

/*Step procesing BEGIN here */
					if(point_passed < Max_point)
					{
						switch(Instruction[point_passed])
						{
						case TURN_SKIP_POINT:
							station_count = station_count + 1;
							STATION_ID = Map_Point[station_count];
							Go_Straight();
							break;
						case TURN_LEFT:
							Left_Turn();
							break;
						case TURN_RIGHT:
							Right_Turn();
							break;
						case TURN_SKIP:
							Go_Straight();
							break;
						case TURN_180DEG_LEFT:
							Left_Turn();
							break;
						case TURN_180DEG_RIGHT:
							Right_Turn();
							break;
						case TURN_180DEG_STRAIGHT:
							Go_Straight();
							break;
;						}
					}

/*Step procesing END here */
					Previous_Line = LINE_MIDDLE;
				}

				else if(Previous_Line == LINE_MIDDLE)
				{
				Sensor_Convert_A2D();
				Error_Val = Error_Return(LineDetect);
				int16_t PID_Val = Line_Follower_PID(3500,Error_Val,&Car);
				Motor_Speed_R = (Right + PID_Val);
				Motor_Speed_L = (Left - PID_Val);
				Motor_Speed_R = Constraint(Motor_Speed_R, -MAXSPEED_RIGHT,MAXSPEED_RIGHT);
				Motor_Speed_L = Constraint(Motor_Speed_L, -MAXSPEED_LEFT,MAXSPEED_LEFT);
				MotorR_SetPWM(Motor_Speed_R);
				MotorL_SetPWM(Motor_Speed_L);
				}
			}

			if(Status == 0)
			{
				Trans_flag = DATA_TRANS_DIS;
				lcd_send_cmd(0x80 | 0x00);
				lcd_send_string("Car is Pause        ");
			}
			else
			{
				Trans_flag = DATA_TRANS_EN;
				lcd_send_cmd(0x80 | 0x00);
				lcd_send_string("Car is Running!        ");
			}
		}
		else if(Begin_solving == 0)
		{
			MotorL_SetPWM(0);
			MotorR_SetPWM(0);
		/*Reset value after done solving the matrix*/
			memset(Instruction,0,sizeof(Instruction));
			memset(Map_Point,0,sizeof(Map_Point));
			memset(Turn_Instruction,0,sizeof(Turn_Instruction));
			point_passed = -1;
			Max_point = 0;
			Max_point_temp = 0;
			Temp_Line = 0;
			Spin_once = 0;
			Path_guidance = 1;
			Max_point = 0;
			station_count = -1;
			if(Read_RFID_Flag == 1){
				Read_RFID_CARD();
				Read_RFID_Flag = 0;
			}
		}
	}
	MotorL_SetPWM(0);
	MotorR_SetPWM(0);
	lcd_clear();
}
void Read_RFID_CARD()
{
	uint8_t recover_position = 0;
	uint8_t enable = 1;
	char Card_Buffer_Str[4];
	char concat_Buff[20];
	memset(concat_Buff,0,sizeof(concat_Buff));
	memset(Card_Buffer_Str,0,sizeof(Card_Buffer_Str));
	MotorL_SetPWM(2500);
	MotorR_SetPWM(2500);
	MFRC522_Init();
	while(enable)
	{
		if (MFRC522_Check(CardID) == MI_OK)
		{
			MotorL_SetPWM(0);
			MotorR_SetPWM(0);
			sprintf(Card_Buffer_Str,"\"%02x",CardID[0]);
			strcat(concat_Buff,Card_Buffer_Str);
			sprintf(Card_Buffer_Str,"%02x",CardID[1]);
			strcat(concat_Buff,Card_Buffer_Str);
			sprintf(Card_Buffer_Str,"%02x",CardID[2]);
			strcat(concat_Buff,Card_Buffer_Str);
			sprintf(Card_Buffer_Str,"%02x",CardID[3]);
			strcat(concat_Buff,Card_Buffer_Str);
			sprintf(Card_Buffer_Str,"%02x\"",CardID[4]);
			strcat(concat_Buff,Card_Buffer_Str);
			strcpy(RFID_Str,concat_Buff);
			RFID_ID_ready = 1;
			enable = 0;
			recover_position = 1;
			MFRC522_Reset();
		}
	}
	while(recover_position)
	{
		Sensor_Convert_A2D();
		MotorL_SetPWM(-2500);
		MotorR_SetPWM(-2500);
		if((LineDetect & 0b10000100) == 0b10000000 || (LineDetect & 0b10000100) == 0b00000100 || (LineDetect & 0b10000100) == 0b10000100)
		{
			HAL_Delay(250);
			recover_position = 0;
		}
	}
	MotorL_SetPWM(0);
	MotorR_SetPWM(0);
}

static void Left_Turn()
{
	MotorR_SetPWM(4900);
	MotorL_SetPWM(-3000);
	HAL_Delay(160);
	while((LineDetect & 0b11000000) <= 64)
	{
		Sensor_Convert_A2D();
	}
	while(LineDetect != 0b00010000)
	{
		Sensor_Convert_A2D();
	}
}
static void Right_Turn()
{
	MotorL_SetPWM(5400);
	MotorR_SetPWM(-3900);
	while((LineDetect & 0b00001100) <= 8)
	{
		Sensor_Convert_A2D();
	}
	while(LineDetect != 0b00010000)
	{
		Sensor_Convert_A2D();
	}
}
static void Turn_180_Deg()
{
	MotorL_SetPWM(6200);
	MotorR_SetPWM(-6200);
	while(LineDetect != 0b00000000)
	{
		Sensor_Convert_A2D();
	}
	while(LineDetect <= 3)
	{
		Sensor_Convert_A2D();
	}
	while(LineDetect != 0b00010000)
	{
		Sensor_Convert_A2D();
	}
}
static void Go_Straight()
{
	int16_t PID_Val = Line_Follower_PID(3500,3500,&Car);
	Motor_Speed_R = (Right + PID_Val);
	Motor_Speed_L = (Left - PID_Val);
	Motor_Speed_R = Constraint(Motor_Speed_R, -MAXSPEED_RIGHT,MAXSPEED_RIGHT);
	Motor_Speed_L = Constraint(Motor_Speed_L, -MAXSPEED_LEFT,MAXSPEED_LEFT);
	MotorR_SetPWM(Motor_Speed_R);
	MotorL_SetPWM(Motor_Speed_L);
}
static int Error_Return (uint8_t Sensor_Array){
	switch(Sensor_Array){
	case 0b00001000:
		return 4100;
		break;
	case 0b00011000:
		return 3900;
		break;

	case 0b00010000:
		return 3700;
		break;

	case 0b00000000:
		return 3500;
		break;

	case 0b00110000:
		return 3500;
		break;

	case 0b00100000:
		return 3300;
		break;

	case 0b01100000:
		return 3100;
		break;
	case 0b01000000:
		return 2900;
		break;
/*---------------------dont care------------------------*/
	default:
		return 3500;
		break;
	}
}
static int Constraint (int Present_Value,int Min,int Max){
	if(Present_Value > Max){
		return Present_Value = Max;
	}
	else if (Present_Value < Min ){
		return Present_Value = Min;
	}
	else
		return Present_Value;
}
static void Sensor_Convert_A2D()
{
	LineDetect = 0;
	for (int i = 0; i < 6; ++i)
	{
		if (Sensor_ADC_Value[i] < Sensor_Threshold[i])
		{
			sbi(LineDetect, (7 - i));
//			printf("1 ");
		}
		else
		{
//			printf("0 ");
		}
	}
//	printf("\n");
//	HAL_Delay(100);
}
void Sensor_PrintValue(void)
{
	printf("Sensor Val: ");
	for (int i = 0; i < 6; ++i)
	{
		printf("%u ", Sensor_ADC_Value[i]);
	}
	printf("\n");

}
static void Sensor_Print_LineDetect()
{
		char buffer[6];
		itoa (LineDetect,buffer,2);
		printf ("binary: %s\n",buffer);
}
void ScrollUp(void)
{
	if (HAL_GPIO_ReadPin(ButtonA_GPIO_Port, ButtonA_Pin) == 0)
	{
		while (HAL_GPIO_ReadPin(ButtonA_GPIO_Port, ButtonA_Pin) == 0)
		{
			HAL_Delay(50);
		}
		switch (Menu_type)
		{
		case Main_menu:
			line--;
			if (line < Number_of_Menu_firstline)
			{
				line = Maximum_Menu_line;
			}
			break;
		case PID_Menu:
			line--;
			if (line < Number_of_Menu_firstline)
			{
				line = Maximum_PID_line;
			}
			if (Kp_modify_flag == 1)
			{
				Kp += Kp_amount;
				line = 1;
			}
			if (Ki_modify_flag == 1)
			{
				Ki += Ki_amount;
				line = 2;
			}
			if (Kd_modify_flag == 1)
			{
				Kd += Kd_amount;
				line = 3;
			}
			break;
		case Engine_menu:
			line--;
			if (line < Number_of_Menu_firstline)
			{
				line = Maximum_Engine_line;
			}
			if (Left_modify_flag == 1)
			{
				Left += 100;
				line = 1;
				if (Left >= 7200)
				{
					Left = 7200;
				}
			}
			if (Right_modify_flag == 1)
			{
				Right += 100;
				line = 2;
				if (Right >= 7200)
				{
					Right = 7200;
				}
			}
			break;
		case Path_solver:
			line--;
			if (line < Number_of_Menu_firstline)
			{
				line = Maximum_Path_Solver_line;
			}
			if (First_point_modify_flag == 1)
			{
				First_point += 1;
				line = 1;
				if(First_point>11)
				{
					First_point = 0;
				}
			}
			if (Last_point_modify_flag == 1)
			{
				Last_point += 1;
				line = 2;
				if(Last_point>11)
				{
					Last_point = 0;
				}
			}
			break;
		}
	}
}
void SelectItem(void)
{
	if (HAL_GPIO_ReadPin(ButtonB_GPIO_Port, ButtonB_Pin) == 0) //Select button
	{
		while (HAL_GPIO_ReadPin(ButtonB_GPIO_Port, ButtonB_Pin) == 0)
		{
			HAL_Delay(50);
		}
		executeAction(line);
		if (Kp_modify_flag == 1 || Ki_modify_flag == 1 || Kd_modify_flag == 1
				|| Right_modify_flag == 1 || Left_modify_flag == 1 || First_point_modify_flag == 1 || Last_point_modify_flag == 1)
		{
			__NOP();
		}
		else
		{
			line = 1;
		}
	}
}
void MultifunctionButton(void)
{
	switch (Menu_type)
	{
	case Running_menu:
		Menu_type = Main_menu;
		line = 1;
		cancel_running = 0;
		break;
	case Main_menu:
		line++;
		if (line > Maximum_Menu_line)
		{
			line = Number_of_Menu_firstline;
		}
		break;
	case PID_Menu:
		line++;
		if (line > Maximum_PID_line)
		{
			line = Number_of_Menu_firstline;
		}
		if (Kp_modify_flag == 1)
		{
			Kp -= Kp_amount;
			line = 1;
			if (Kp <= 0)
				{Kp = 0;}
		}
		if (Ki_modify_flag == 1)
		{
			Ki -= Ki_amount;
			line = 2;
			if (Ki <= 0)
				{Ki = 0;}
		}
		if (Kd_modify_flag == 1)
		{
			Kd -= Kd_amount;
			line = 3;
			if (Kd <= 0)
				{Kd = 0;}
		}
		break;
	case Engine_menu:
		line++;
		if (line > Maximum_Engine_line)
		{
			line = Number_of_Menu_firstline;
		}
		if (Left_modify_flag == 1)
		{
			Left -= 100;
			line = 1;
			if (Left <= -7200)
				{Left = -7200;}
		}
		if (Right_modify_flag == 1)
		{
			Right -= 100;
			line = 2;
			if (Right <= -7200)
				{Right = -7200;}
		}
		break;
	case LineDetect_Show:
		Menu_type = Main_menu;
		line = 1;
		cancel_menu = 0;
		break;
	case Saving_process:
		cancel_reading_card = 0;
		Menu_type = Main_menu;
		line = 1;
		break;
	case Color_Processing:
		Color_Read = 0;
		break;
	case Path_solver:
		line++;
		if (line > Maximum_Path_Solver_line)
		{
			line = Number_of_Menu_firstline;
		}
		if (First_point_modify_flag == 1)
		{
			First_point -= 1;
			line = 1;
			if(First_point < 0)
			{
				First_point = 11;
			}
		}
		if (Last_point_modify_flag == 1)
		{
			Last_point -= 1;
			line = 2;
			if(Last_point < 0)
			{
				Last_point = 11;
			}
		}
		break;
		case Path_show_menu:
			Menu_type = Path_solver;
			line = 1;
			break;
	}

}

//Deboucing button program
void HAL_GPIO_EXTI_Callback(uint16_t GPIO_Pin)
{
	if (GPIO_Pin == ButtonC_Pin && stateBTNC == 1)
	{
		HAL_TIM_Base_Start_IT(&htim5);
		stateBTNC = 0;
	}

	else
	{
		__NOP();
	}
}
void HAL_TIM_PeriodElapsedCallback(TIM_HandleTypeDef *htim)
{
	if (htim->Instance == htim5.Instance)
	{
		if (HAL_GPIO_ReadPin(ButtonC_GPIO_Port, ButtonC_Pin)
				== GPIO_PIN_RESET)
		{
			MultifunctionButton();
			menu_display = 1;
			stateBTNC = 1;
			HAL_TIM_Base_Stop_IT(&htim5);

		}
	}
}
//void ReadFlash(void)
//{
//	Flash_Read_Data(0x08020000, PID_Rx);
//	Convert_To_Str(PID_Rx, string_2);
//	char *KpinString = strtok(string_2," ");
//	char *KiinString = strtok(NULL," ");
//	char *KdinString = strtok(NULL," ");
//	Kp = strtod(KpinString, NULL);
//	Ki = strtod(KiinString, NULL);
//	Kd = strtod(KdinString, NULL);
//
//}
//void HAL_UART_RxCpltCallback(UART_HandleTypeDef *huart)
//{
//	char *KpinString = strtok(Rx_Buff," ");
//	char *KiinString = strtok(NULL," ");
//	char *KdinString = strtok(NULL," ");
//	Kp = strtod(KpinString, NULL);
//	Ki = strtod(KiinString, NULL);
//	Kd = strtod(KdinString, NULL);
//
//	HAL_UART_Receive_IT(&huart6, Rx_Buff, sizeof(Rx_Buff));
//	if(Kp != 0 && Ki != 0 && Kd != 0)
//	{
//		Wifi_Connecting = 0;
//
//	}
//
//}
/* USER CODE END 4 */

void Error_Handler(void)
{
	__disable_irq();
	while (1)
	{
	}
}

/************************ (C) COPYRIGHT STMicroelectronics *****END OF FILE****/
